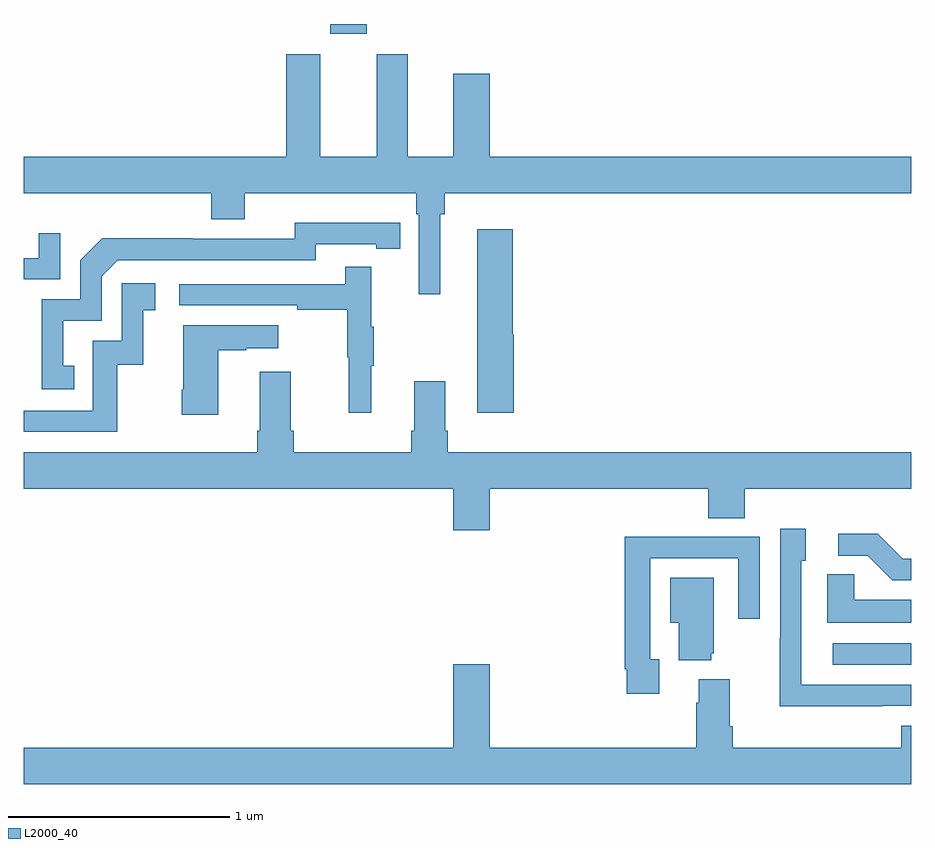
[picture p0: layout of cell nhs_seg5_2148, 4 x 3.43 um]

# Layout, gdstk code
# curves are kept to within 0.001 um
import gdstk
lib = gdstk.Library(unit=1e-6, precision=1e-09)
def R(c, l, rs):  # rectangles x0, y0, x1, y1
    for r in rs: c.add(gdstk.rectangle(r[:2], r[2:], *l))
def P(c, l, *ps):  # polygons
    for p in ps: c.add(gdstk.Polygon(p, *l))
L2000_40 = (2000, 40)

nhs_seg5_2148 = lib.new_cell('nhs_seg5_2148')
R(nhs_seg5_2148, L2000_40, [(238.647,911.91,239,912.006), (236.381,914.754,236.545,914.799)])
P(nhs_seg5_2148, L2000_40, [(236.878,913.94),(236.897,913.94),(236.897,914.036),(239,914.036),(239,914.2),(237.1,914.2),(237.1,914.575),(236.936,914.575),(236.936,914.2),(236.731,914.2),(236.731,914.662),(236.591,914.662),(236.591,914.2),(236.335,914.2),(236.335,914.662),(236.183,914.662),(236.183,914.2),(235,914.2),(235,914.036),(235.844,914.036),(235.844,913.919),(235.996,913.919),(235.996,914.036),(236.768,914.036),(236.768,913.94),(236.781,913.94),(236.781,913.581),(236.878,913.581)],
  [(235.226,913.257),(235.177,913.257),(235.177,913.461),(235.35,913.461),(235.35,913.662),(235.422,913.734),(236.316,913.734),(236.316,913.806),(236.588,913.806),(236.588,913.786),(236.696,913.786),(236.696,913.902),(236.22,913.903),(236.22,913.83),(235.76,913.83),(235.76,913.832),(235.352,913.832),(235.254,913.734),(235.254,913.557),(235.08,913.557),(235.08,913.152),(235.226,913.152)],
  [(237.208,913.398),(237.203,913.398),(237.203,913.873),(237.044,913.873),(237.044,913.046),(237.208,913.046)],
  [(235.164,913.855),(235.067,913.855),(235.067,913.743),(235,913.743),(235,913.647),(235.164,913.647)],
  [(236.567,913.259),(236.578,913.259),(236.578,913.433),(236.567,913.433),(236.567,913.705),(236.449,913.705),(236.449,913.626),(235.701,913.626),(235.701,913.53),(236.233,913.53),(236.233,913.51),(236.457,913.51),(236.457,913.296),(236.464,913.296),(236.464,913.047),(236.567,913.047)],
  [(235.42,913.263),(235.538,913.263),(235.538,913.509),(235.591,913.509),(235.591,913.63),(235.44,913.63),(235.44,913.371),(235.311,913.371),(235.311,913.056),(235,913.056),(235,912.96),(235.42,912.96)],
  [(235.876,913.327),(236.003,913.327),(236.003,913.337),(236.146,913.337),(236.146,913.441),(235.718,913.441),(235.718,913.15),(235.711,913.15),(235.711,913.038),(235.876,913.038)],
  [(237.1,912.704),(238.085,912.704),(238.085,912.571),(238.25,912.571),(238.25,912.704),(239,912.704),(239,912.868),(236.912,912.868),(236.912,912.964),(236.899,912.964),(236.899,913.189),(236.759,913.189),(236.759,912.964),(236.747,912.964),(236.747,912.868),(236.216,912.868),(236.216,912.964),(236.203,912.964),(236.203,913.231),(236.063,913.231),(236.063,912.964),(236.051,912.964),(236.051,912.868),(235,912.868),(235,912.704),(236.936,912.704),(236.936,912.516),(237.1,912.516)],
  [(238.871,911.724),(239,911.724),(239,911.82),(238.506,911.82),(238.506,912.378),(238.525,912.378),(238.525,912.523),(238.41,912.523),(238.41,912.029),(238.408,912.029),(238.408,911.723),(238.871,911.723)],
  [(239,912.387),(238.962,912.387),(238.849,912.5),(238.671,912.5),(238.671,912.402),(238.805,912.402),(238.916,912.291),(239,912.291)],
  [(237.865,911.934),(237.825,911.934),(237.825,912.39),(238.221,912.39),(238.221,912.117),(238.317,912.117),(238.317,912.486),(238.001,912.486),(238.001,912.488),(237.709,912.488),(237.709,911.89),(237.717,911.89),(237.717,911.778),(237.865,911.778)],
  [(239,912.202),(238.743,912.202),(238.743,912.317),(238.622,912.317),(238.622,912.098),(239,912.098)],
  [(238.1,911.961),(238.111,911.961),(238.111,912.301),(237.914,912.301),(237.914,912.098),(237.953,912.098),(237.953,911.93),(238.1,911.93)],
  [(239,911.635),(238.955,911.635),(238.955,911.536),(238.196,911.536),(238.196,911.632),(238.183,911.632),(238.183,911.845),(238.043,911.845),(238.043,911.738),(238.031,911.738),(238.031,911.536),(237.1,911.536),(237.1,911.911),(236.936,911.911),(236.936,911.536),(235,911.536),(235,911.372),(239,911.372)])

lib.write_gds('nhs_seg5_2148.gds')
